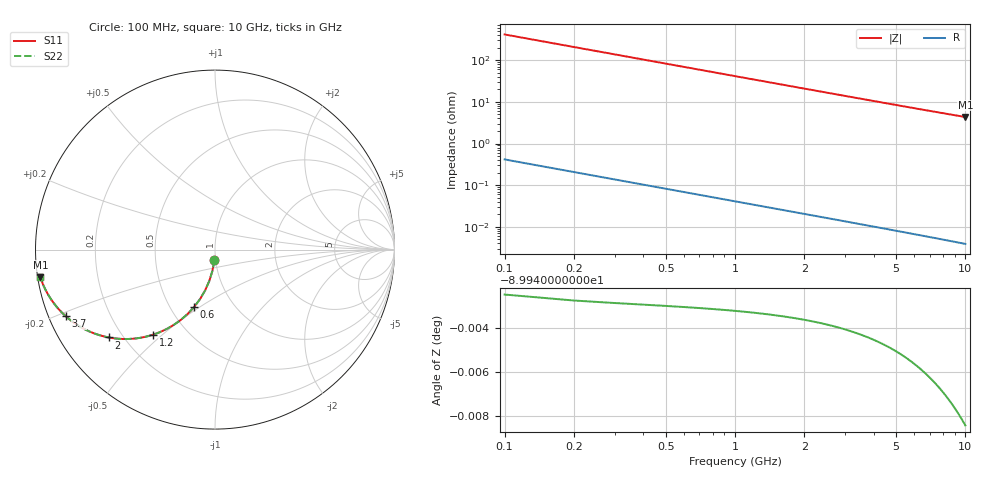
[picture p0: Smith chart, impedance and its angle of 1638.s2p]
# Hz S RI R 50.00
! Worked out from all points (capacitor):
!   100 points, 100 MHz to 10 GHz, reference 50 ohm
!   read as one part in shunt: C = 3.85 pF near 100 MHz
!   lowest |Z| = 4.33 ohm at 10 GHz (marker M1)
!   S11 on the Smith chart (normalised r, x): 100 MHz: 0.99, -0.12; 600 MHz: 0.66, -0.47; 1.2 GHz: 0.32, -0.47; 2 GHz: 0.15, -0.35; 3.7 GHz: 0.05, -0.21; 10 GHz: 0.01, -0.08
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1e8  -0.00368 -0.0601  0.9963 -0.0603  0.9963 -0.0603  -0.00368 -0.0601
2e8  -0.0145 -0.1189  0.9855 -0.1192  0.9855 -0.1192  -0.0145 -0.1189
3e8  -0.0319 -0.1752  0.968 -0.1756  0.968 -0.1756  -0.0319 -0.1752
4e8  -0.0553 -0.2279  0.9446 -0.2284  0.9446 -0.2284  -0.0553 -0.2279
5e8  -0.0838 -0.2762  0.9162 -0.2769  0.9162 -0.2769  -0.0838 -0.2762
6e8  -0.1163 -0.3196  0.8837 -0.3205  0.8837 -0.3205  -0.1163 -0.3196
7e8  -0.1518 -0.3578  0.8482 -0.3588  0.8482 -0.3588  -0.1518 -0.3578
9e8  -0.2281 -0.4185  0.7719 -0.4197  0.7719 -0.4197  -0.2281 -0.4185
1.2e9  -0.344 -0.4737  0.656 -0.4754  0.656 -0.4754  -0.344 -0.4737
1.5e9  -0.45 -0.496  0.55 -0.498  0.55 -0.498  -0.45 -0.496
1.8e9  -0.5406 -0.4966  0.4594 -0.4991  0.4594 -0.4991  -0.5406 -0.4966
2e9  -0.592 -0.4896  0.4079 -0.4923  0.4079 -0.4923  -0.592 -0.4896
2.3e9  -0.6572 -0.4725  0.3428 -0.4758  0.3428 -0.4758  -0.6572 -0.4725
2.6e9  -0.7098 -0.4515  0.2901 -0.4551  0.2901 -0.4551  -0.7098 -0.4515
3e9  -0.7648 -0.4215  0.2351 -0.4257  0.2351 -0.4257  -0.7648 -0.4215
3.4e9  -0.8066 -0.392  0.1933 -0.3968  0.1933 -0.3968  -0.8066 -0.392
3.7e9  -0.8315 -0.3711  0.1684 -0.3764  0.1684 -0.3764  -0.8315 -0.3711
4.3e9  -0.8694 -0.3334  0.1306 -0.3395  0.1306 -0.3395  -0.8694 -0.3334
5.1e9  -0.9034 -0.2913  0.0966 -0.2985  0.0966 -0.2985  -0.9034 -0.2913
6.7e9  -0.9416 -0.2291  0.0583 -0.2388  0.0583 -0.2388  -0.9416 -0.2291
8.4e9  -0.9621 -0.1843  0.0378 -0.1965  0.0378 -0.1965  -0.9621 -0.1843
1e10  -0.973 -0.154  0.0268 -0.1686  0.0268 -0.1686  -0.973 -0.154
